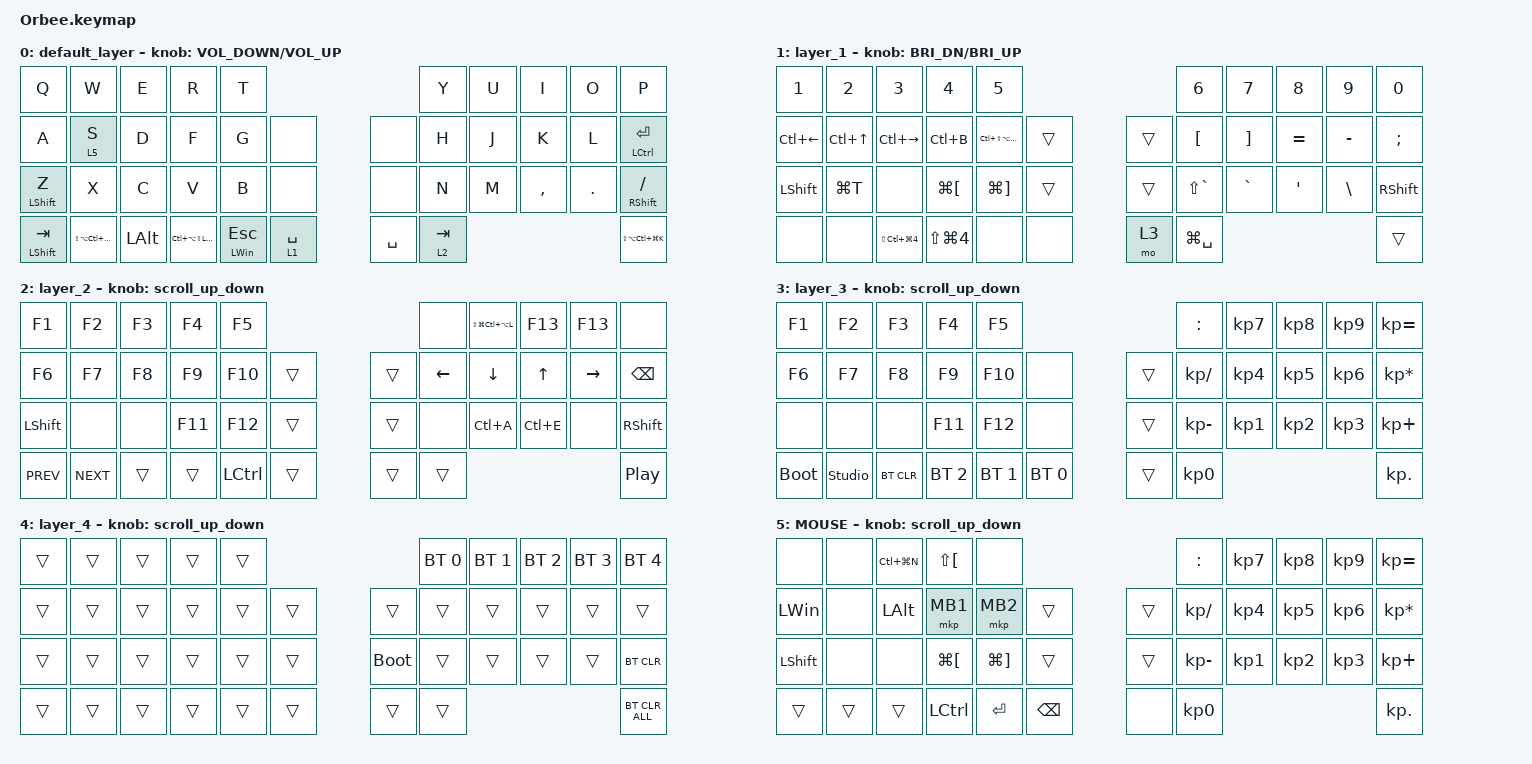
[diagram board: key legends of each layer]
#include <behaviors.dtsi>
#include <dt-bindings/zmk/bt.h>
#include <dt-bindings/zmk/keys.h>
#include <dt-bindings/zmk/pointing.h>

#define ZMK_POINTING_DEFAULT_SCRL_VAL 100
#define MOUSE 6

&mt {
    flavor = "balanced";
    quick-tap-ms = <0>;
    tapping-term-ms = <180>;
};

&lt { tapping-term-ms = <180>; };

/ {
    combos { compatible = "zmk,combos"; };

    behaviors {
        touch_behavior_1: touch1 {
            compatible = "zmk,behavior-momentary";
            label = "TouchKey1";
            bindings = <&kp A>;
        };

        touch_behavior_2: touch2 {
            compatible = "zmk,behavior-momentary";
            label = "TouchKey2";
            bindings = <&kp B>;
        };

        touch_behavior_3: touch3 {
            compatible = "zmk,behavior-momentary";
            label = "TouchKey3";
            bindings = <&mo 1>;
        };

        scroll_up_down: behavior_sensor_rotate_mouse_wheel_up_down {
            compatible = "zmk,behavior-sensor-rotate";
            #sensor-binding-cells = <0>;
            bindings = <&msc SCRL_UP>, <&msc SCRL_DOWN>;

            tap-ms = <20>;
        };

        tap_hold_behavior: tap_hold_behavior {
            compatible = "zmk,behavior-hold-tap";
            label = "TAP_HOLD_BEHAVIOR";
            bindings = <&none>, <&none>;

            #binding-cells = <2>;
            tapping-term-ms = <180>;
        };
    };

    keymap {
        compatible = "zmk,keymap";

        default_layer {
            bindings = <
&kp Q               &kp W                  &kp E         &kp R                     &kp T                                          &kp Y      &kp U  &kp I      &kp O    &kp P
&kp A               &lt 5 S                &kp D         &kp F                     &kp G                &none          &none      &kp H      &kp J  &kp K      &kp L    &mt LEFT_CONTROL ENTER
&mt LEFT_SHIFT Z    &kp X                  &kp C         &kp V                     &kp B                &none          &none      &kp N      &kp M  &kp COMMA  &kp DOT  &mt RIGHT_SHIFT SLASH
&mt LEFT_SHIFT TAB  &kp LS(LA(LC(LG(M))))  &kp LEFT_ALT  &kp LC(LA(LS(LEFT_WIN)))  &mt LEFT_WIN ESCAPE  &lt 1 SPACE    &kp SPACE  &lt 2 TAB                             &kp LS(LA(LC(LG(K))))
            >;

            sensor-bindings = <&inc_dec_kp K_VOLUME_DOWN K_VOLUME_UP>;
        };

        layer_1 {
            bindings = <
&kp N1              &kp N2            &kp N3                    &kp N4                &kp N5                                   &kp N6            &kp N7             &kp N8     &kp N9         &kp N0
&kp LC(LEFT_ARROW)  &kp LC(UP_ARROW)  &kp LC(RIGHT_ARROW)       &kp LC(B)             &kp LC(LS(LA(LG(O))))  &trans    &trans  &kp LEFT_BRACKET  &kp RIGHT_BRACKET  &kp EQUAL  &kp MINUS      &kp SEMICOLON
&kp LEFT_SHIFT      &kp LG(T)         &none                     &kp LG(LEFT_BRACKET)  &kp LG(RIGHT_BRACKET)  &trans    &trans  &kp LS(GRAVE)     &kp GRAVE          &kp SQT    &kp BACKSLASH  &kp RIGHT_SHIFT
&none               &none             &kp LS(LC(LG(NUMBER_4)))  &kp LS(LG(N4))        &none                  &none     &mo 3   &kp LG(SPACE)                                                  &trans
            >;

            sensor-bindings = <&inc_dec_kp C_BRI_DN C_BRI_UP>;
        };

        layer_2 {
            bindings = <
&kp F1      &kp F2      &kp F3  &kp F4   &kp F5                       &none           &kp LS(LG(LC(LA(L))))  &kp F13       &kp F13          &none
&kp F6      &kp F7      &kp F8  &kp F9   &kp F10    &trans    &trans  &kp LEFT_ARROW  &kp DOWN               &kp UP_ARROW  &kp RIGHT_ARROW  &kp BACKSPACE
&kp LSHIFT  &none       &none   &kp F11  &kp F12    &trans    &trans  &none           &kp LC(A)              &kp LC(E)     &none            &kp RIGHT_SHIFT
&kp C_PREV  &kp C_NEXT  &trans  &trans   &kp LCTRL  &trans    &trans  &trans                                                                &kp C_PP
            >;

            sensor-bindings = <&scroll_up_down>;
        };

        layer_3 {
            bindings = <
&kp F1       &kp F2          &kp F3      &kp F4        &kp F5                                &kp COLON     &kp KP_N7        &kp KP_N8        &kp KP_N9  &kp KP_EQUAL
&kp F6       &kp F7          &kp F8      &kp F9        &kp F10       &none           &trans  &kp KP_SLASH  &kp KP_N4        &kp KP_N5        &kp KP_N6  &kp KP_ASTERISK
&none        &none           &none       &kp F11       &kp F12       &none           &trans  &kp KP_MINUS  &kp KP_NUMBER_1  &kp KP_NUMBER_2  &kp KP_N3  &kp KP_PLUS
&bootloader  &studio_unlock  &bt BT_CLR  &bt BT_SEL 2  &bt BT_SEL 1  &bt BT_SEL 0    &trans  &kp KP_N0                                                  &kp KP_DOT
            >;

            sensor-bindings = <&scroll_up_down>;
        };

        layer_4 {
            bindings = <
&trans  &trans  &trans  &trans  &trans                         &bt BT_SEL 0  &bt BT_SEL 1  &bt BT_SEL 2  &bt BT_SEL 3  &bt BT_SEL 4
&trans  &trans  &trans  &trans  &trans  &trans    &trans       &trans        &trans        &trans        &trans        &trans
&trans  &trans  &trans  &trans  &trans  &trans    &bootloader  &trans        &trans        &trans        &trans        &bt BT_CLR
&trans  &trans  &trans  &trans  &trans  &trans    &trans       &trans                                                  &bt BT_CLR_ALL
            >;

            sensor-bindings = <&scroll_up_down>;
        };

        MOUSE {
            bindings = <
&none           &none   &kp LC(LG(N))  &kp LS(LEFT_BRACKET)  &none                                           &kp COLON      &kp KP_N7        &kp KP_N8  &kp KP_N9  &kp KP_EQUAL
&kp LEFT_WIN    &none   &kp LEFT_ALT   &mkp MB1              &mkp MB2               &trans           &trans  &kp KP_DIVIDE  &kp KP_NUMBER_4  &kp KP_N5  &kp KP_N6  &kp KP_MULTIPLY
&kp LEFT_SHIFT  &none   &none          &kp LG(LEFT_BRACKET)  &kp LG(RIGHT_BRACKET)  &trans           &trans  &kp KP_MINUS   &kp KP_N1        &kp KP_N2  &kp KP_N3  &kp KP_PLUS
&trans          &trans  &trans         &kp LCTRL             &kp ENTER              &kp BACKSPACE    &none   &kp KP_N0                                             &kp KP_DOT
            >;

            sensor-bindings = <&scroll_up_down>;
        };
    };
};
